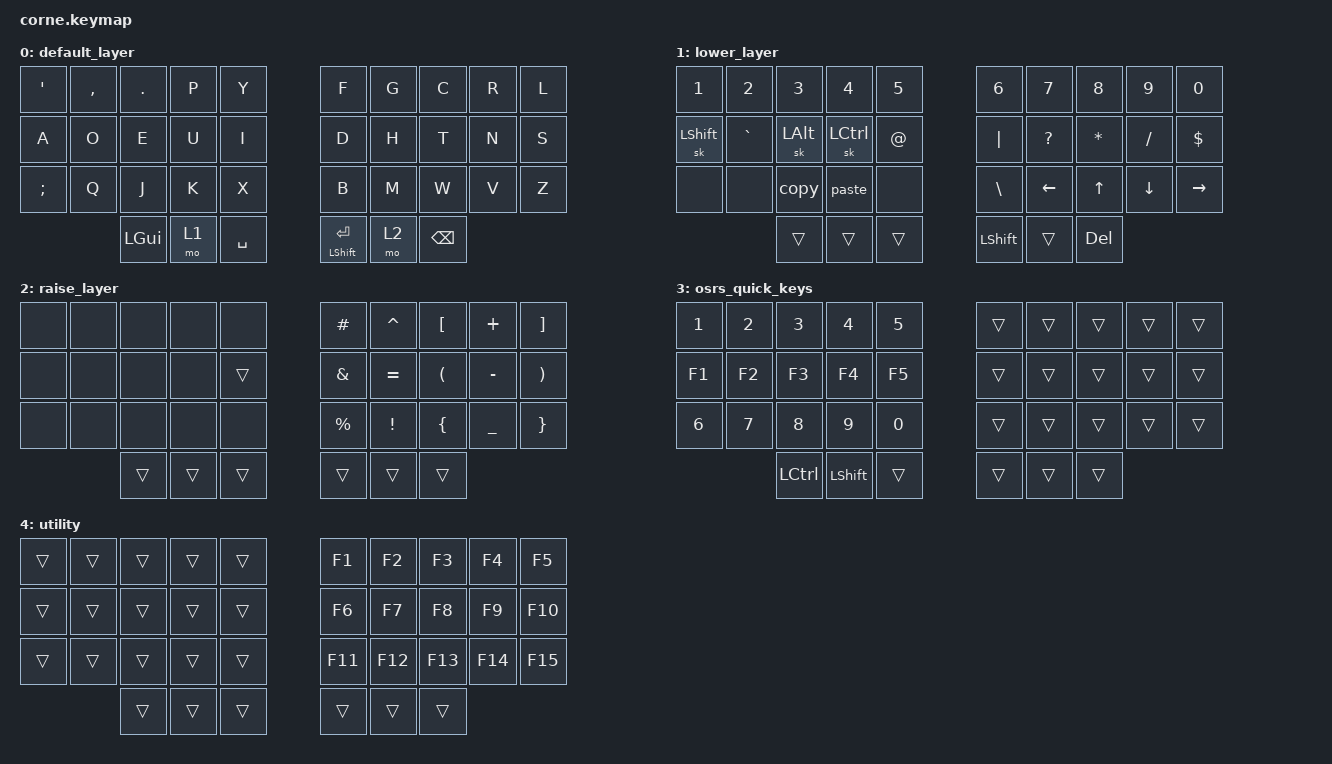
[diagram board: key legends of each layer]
/*
 * Copyright (c) 2020 The ZMK Contributors
 *
 * SPDX-License-Identifier: MIT
 */

#include <behaviors.dtsi>
#include <dt-bindings/zmk/keys.h>

&mt {
    tapping-term-ms = <200>;
    flavor = "tap-preferred";
};

/ {
    combos {
        compatible = "zmk,combos";

        toggle_utility {
            bindings = <&mo 4>;
            key-positions = <31 34>;
        };

        toggle_osrs_quick_keys {
            bindings = <&tog 3>;
            key-positions = <11 12 13>;
        };

        two_finger_tab {
            bindings = <&kp TAB>;
            key-positions = <12 13>;
        };

        two_finger_escape {
            bindings = <&kp ESCAPE>;
            key-positions = <11 12>;
        };

        left_hand_enter {
            bindings = <&kp ENTER>;
            key-positions = <10 14>;
        };
    };

    macros {
        copy: copy {
            compatible = "zmk,behavior-macro";
            #binding-cells = <0>;
            bindings = <&kp LC(C)>;
            label = "COPY";
        };

        paste: paste {
            compatible = "zmk,behavior-macro";
            #binding-cells = <0>;
            bindings = <&kp LC(V)>;
            label = "PASTE";
        };
    };

    chosen { zmk,matrix_transform = &five_column_transform; };

    keymap {
        compatible = "zmk,keymap";

        default_layer {
            // -----------------------------------------------------------------------------------------
            // |  TAB |  Q  |  W  |  E  |  R  |  T  |   |  Y  |  U   |  I  |  O  |  P  | BSPC |
            // | CTRL |  A  |  S  |  D  |  F  |  G  |   |  H  |  J   |  K  |  L  |  ;  |  '   |
            // | SHFT |  Z  |  X  |  C  |  V  |  B  |   |  N  |  M   |  ,  |  .  |  /  | ESC  |
            //                    | GUI | LWR | SPC |   | ENT | RSE  | ALT |

            bindings = <
  &kp APOS  &kp COMMA  &kp DOT       &kp P  &kp Y        &kp F                 &kp G  &kp C          &kp R  &kp L
  &kp A     &kp O      &kp E         &kp U  &kp I        &kp D                 &kp H  &kp T          &kp N  &kp S
  &kp SEMI  &kp Q      &kp J         &kp K  &kp X        &kp B                 &kp M  &kp W          &kp V  &kp Z
                       &kp LEFT_GUI  &mo 1  &kp SPACE    &mt LEFT_SHIFT ENTER  &mo 2  &kp BACKSPACE
            >;
        };

        lower_layer {
            // -----------------------------------------------------------------------------------------
            // |  TAB |  1  |  2  |  3  |  4  |  5  |   |  6  |  7  |  8  |  9  |  0  | BSPC |
            // | BTCLR| BT1 | BT2 | BT3 | BT4 | BT5 |   | LFT | DWN |  UP | RGT |     |      |
            // | SHFT |     |     |     |     |     |   |     |     |     |     |     |      |
            //                    | GUI |     | SPC |   | ENT |     | ALT |

            bindings = <
  &kp N1     &kp N2     &kp N3    &kp N4     &kp N5    &kp N6          &kp N7          &kp N8        &kp N9          &kp N0
  &sk LSHFT  &kp GRAVE  &sk LALT  &sk LCTRL  &kp AT    &kp PIPE        &kp QUESTION    &kp ASTERISK  &kp SLASH       &kp DOLLAR
  &none      &none      &copy     &paste     &none     &kp BACKSLASH   &kp LEFT_ARROW  &kp UP        &kp DOWN_ARROW  &kp RIGHT_ARROW
                        &trans    &trans     &trans    &kp LEFT_SHIFT  &trans          &kp DEL
            >;
        };

        raise_layer {
            // -----------------------------------------------------------------------------------------
            // |  TAB |  !  |  @  |  #  |  $  |  %  |   |  ^  |  &  |  *  |  (  |  )  | BSPC |
            // | CTRL |     |     |     |     |     |   |  -  |  =  |  [  |  ]  |  \  |  `   |
            // | SHFT |     |     |     |     |     |   |  _  |  +  |  {  |  }  | "|" |  ~   |
            //                    | GUI |     | SPC |   | ENT |     | ALT |

            bindings = <
  &none  &none  &none   &none   &none     &kp HASH     &kp CARET  &kp LBKT              &kp PLUS   &kp RBKT
  &none  &none  &none   &none   &trans    &kp AMPS     &kp EQUAL  &kp LEFT_PARENTHESIS  &kp MINUS  &kp RIGHT_PARENTHESIS
  &none  &none  &none   &none   &none     &kp PERCENT  &kp EXCL   &kp LEFT_BRACE        &kp UNDER  &kp RIGHT_BRACE
                &trans  &trans  &trans    &trans       &trans     &trans
            >;
        };

        osrs_quick_keys {
            bindings = <
  &kp N1  &kp N2  &kp N3     &kp N4     &kp N5    &trans  &trans  &trans  &trans  &trans
  &kp F1  &kp F2  &kp F3     &kp F4     &kp F5    &trans  &trans  &trans  &trans  &trans
  &kp N6  &kp N7  &kp N8     &kp N9     &kp N0    &trans  &trans  &trans  &trans  &trans
                  &kp LCTRL  &kp LSHFT  &trans    &trans  &trans  &trans
            >;
        };

        utility {
            bindings = <
  &trans  &trans  &trans  &trans  &trans    &kp F1   &kp F2   &kp F3   &kp F4   &kp F5
  &trans  &trans  &trans  &trans  &trans    &kp F6   &kp F7   &kp F8   &kp F9   &kp F10
  &trans  &trans  &trans  &trans  &trans    &kp F11  &kp F12  &kp F13  &kp F14  &kp F15
                  &trans  &trans  &trans    &trans   &trans   &trans
            >;
        };
    };
};
